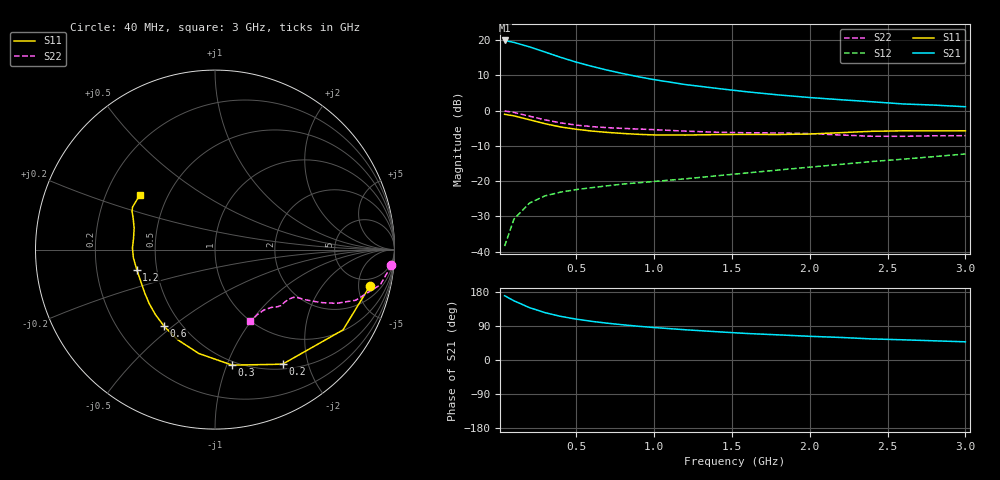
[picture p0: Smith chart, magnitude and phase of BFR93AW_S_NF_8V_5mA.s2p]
! Filename:  BFR93AWE.S2P  Version:  4.0
! Philips part #: BFR93AW  Date: Jun 1994
! Bias condition: Vce=8V, Ic=5mA
#  MHz  S  MA  R  50
! Freq  S11  S21  S12  S22  !GUM [dB]
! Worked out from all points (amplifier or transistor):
!   21 points, 40 MHz to 3 GHz, reference 50 ohm
!   highest |S21| = 19.9 dB at 40 MHz (marker M1)
!   |S21| within 3 dB of that: start of sweep to 280.1 MHz
!   unconditionally stable (mu >= 1): 1.043 GHz to end of sweep
!   at 300 MHz: K = 0.40, MSG = 20.4 dB, |S12| = -24.2 dB
!   at 1 GHz: K = 0.98, MSG = 14.4 dB, |S12| = -20.1 dB
!   at 3 GHz: K = 1.05, MAG = 5.4 dB, |S12| = -12.3 dB
!   lowest NFmin = 1.20 dB at 500 MHz
!   S11 on the Smith chart (normalised r, x): 40 MHz: 3.55, -6.74; 200 MHz: 0.57, -1.60; 300 MHz: 0.47, -1.05; 600 MHz: 0.40, -0.47; 1.2 GHz: 0.38, -0.11; 3 GHz: 0.35, +0.29
40  0.886 -13.3  9.855 169.6  0.012 83.2  0.987 -5.1
100  0.842 -32.1  9.245 156.2  0.029 72.7  0.942 -12.0
200  0.741 -59.5  7.99 138.2  0.049 60.9  0.833 -19.8
300  0.651 -81.5  6.746 124.9  0.062 53.9  0.739 -23.9
400  0.586 -98.8  5.685 115.1  0.07 50.6  0.67 -26.2
500  0.544 -112.3  4.859 107.9  0.076 49.4  0.623 -27.6
600  0.513 -123.5  4.238 102.0  0.081 49.7  0.593 -28.5
700  0.491 -132.6  3.741 97.1  0.086 50.5  0.573 -29.1
800  0.474 -140.7  3.345 92.9  0.091 51.9  0.56 -29.5
900  0.461 -147.8  3.014 89.0  0.095 53.6  0.548 -29.7
1000  0.452 -154.3  2.745 85.7  0.099 55.2  0.537 -30.0
1200  0.45 -165.7  2.341 79.8  0.108 58.7  0.512 -31.3
1400  0.457 -174.3  2.068 74.7  0.119 62.1  0.494 -34.1
1600  0.46 178.9  1.843 69.9  0.131 65.0  0.485 -37.7
1800  0.458 172.3  1.667 66.3  0.144 68.1  0.482 -40.3
2000  0.466 165.2  1.531 62.5  0.158 70.5  0.472 -42.4
2200  0.487 159.3  1.425 59.5  0.173 72.6  0.451 -45.5
2400  0.509 155.2  1.333 55.6  0.19 74.1  0.433 -50.9
2600  0.517 152.7  1.242 53.3  0.205 75.0  0.432 -56.9
2800  0.516 148.7  1.196 50.6  0.223 76.2  0.44 -61.1
3000  0.517 143.9  1.134 48.0  0.243 76.9  0.441 -64.1
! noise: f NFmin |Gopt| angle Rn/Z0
500  1.2  0.313  45.9  0.163
1000  1.9  0.28  133.8  0.218
2000  3  0.606  -155.7  0.137
